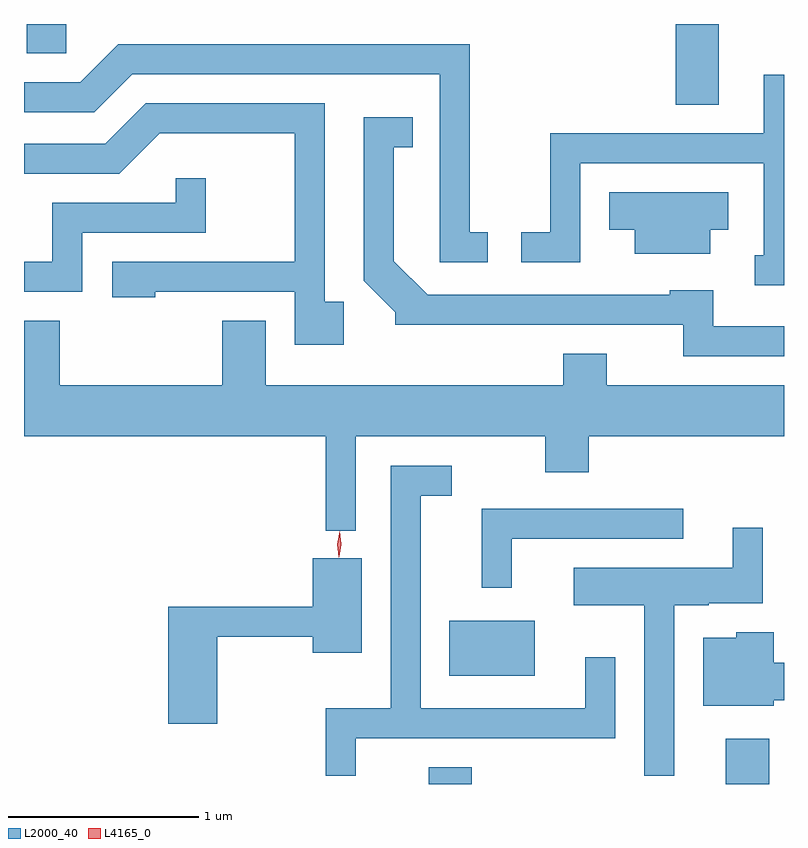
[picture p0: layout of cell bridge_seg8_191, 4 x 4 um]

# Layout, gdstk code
import gdstk
lib = gdstk.Library(unit=1e-6, precision=1e-09)
def R(c, l, rs):  # rectangles x0, y0, x1, y1
    for r in rs: c.add(gdstk.rectangle(r[:2], r[2:], *l))
def P(c, l, *ps):  # polygons
    for p in ps: c.add(gdstk.Polygon(p, *l))
L2000_40 = (2000, 40)
L4165_0 = (4165, 0)

bridge_seg8_191 = lib.new_cell('bridge_seg8_191')
R(bridge_seg8_191, L2000_40, [(1067.636,1912.285,1067.864,1912.374), (1069.201,1912.285,1069.429,1912.524), (1067.746,1912.856,1068.194,1913.144), (1068.936,1915.861,1069.164,1916.285), (1065.521,1916.131,1065.729,1916.285)])
P(bridge_seg8_191, L2000_40, [(1067.948,1915.189),(1067.854,1915.189),(1067.854,1916.179),(1066.004,1916.179),(1065.804,1915.979),(1065.507,1915.979),(1065.507,1915.821),(1065.877,1915.821),(1066.077,1916.021),(1067.696,1916.021),(1067.696,1915.031),(1067.948,1915.031)],
  [(1069.507,1916.019),(1069.401,1916.019),(1069.401,1915.709),(1068.276,1915.709),(1068.276,1915.189),(1068.123,1915.189),(1068.123,1915.031),(1068.434,1915.031),(1068.434,1915.551),(1069.401,1915.551),(1069.401,1915.069),(1069.353,1915.069),(1069.353,1914.911),(1069.507,1914.911)],
  [(1067.189,1914.824),(1067.089,1914.824),(1067.089,1915.869),(1066.149,1915.869),(1065.934,1915.654),(1065.507,1915.654),(1065.507,1915.496),(1066.007,1915.496),(1066.222,1915.711),(1066.931,1915.711),(1066.931,1915.034),(1065.971,1915.034),(1065.971,1914.846),(1066.199,1914.846),(1066.199,1914.876),(1066.931,1914.876),(1066.931,1914.596),(1067.189,1914.596)],
  [(1069.507,1914.694),(1069.134,1914.694),(1069.134,1914.884),(1068.906,1914.884),(1068.906,1914.859),(1067.632,1914.859),(1067.454,1915.037),(1067.454,1915.636),(1067.553,1915.636),(1067.553,1915.794),(1067.296,1915.794),(1067.296,1914.934),(1067.461,1914.769),(1067.461,1914.701),(1068.976,1914.701),(1068.976,1914.536),(1069.507,1914.536)],
  [(1065.814,1915.186),(1066.464,1915.186),(1066.464,1915.473),(1066.306,1915.473),(1066.306,1915.344),(1065.656,1915.344),(1065.656,1915.034),(1065.507,1915.034),(1065.507,1914.876),(1065.814,1914.876)],
  [(1069.119,1915.201),(1069.214,1915.201),(1069.214,1915.399),(1068.586,1915.399),(1068.586,1915.201),(1068.721,1915.201),(1068.721,1915.076),(1069.119,1915.076)],
  [(1067.254,1914.116),(1068.251,1914.116),(1068.251,1913.926),(1068.479,1913.926),(1068.479,1914.116),(1069.507,1914.116),(1069.507,1914.384),(1068.574,1914.384),(1068.574,1914.549),(1068.346,1914.549),(1068.346,1914.384),(1066.779,1914.384),(1066.779,1914.724),(1066.551,1914.724),(1066.551,1914.384),(1065.694,1914.384),(1065.694,1914.724),(1065.507,1914.724),(1065.507,1914.116),(1067.096,1914.116),(1067.096,1913.618),(1067.254,1913.618)],
  [(1067.254,1912.526),(1068.619,1912.526),(1068.619,1912.953),(1068.461,1912.953),(1068.461,1912.684),(1067.594,1912.684),(1067.594,1913.801),(1067.758,1913.801),(1067.758,1913.959),(1067.436,1913.959),(1067.436,1912.684),(1067.096,1912.684),(1067.096,1912.328),(1067.254,1912.328)],
  [(1068.074,1913.576),(1068.978,1913.576),(1068.978,1913.734),(1067.916,1913.734),(1067.916,1913.318),(1068.074,1913.318)],
  [(1068.929,1913.226),(1069.11,1913.226),(1069.11,1913.236),(1069.394,1913.236),(1069.394,1913.633),(1069.236,1913.633),(1069.236,1913.424),(1068.401,1913.424),(1068.401,1913.226),(1068.771,1913.226),(1068.771,1912.328),(1068.929,1912.328)],
  [(1066.524,1913.061),(1067.026,1913.061),(1067.026,1912.976),(1067.284,1912.976),(1067.284,1913.474),(1067.026,1913.474),(1067.026,1913.219),(1066.266,1913.219),(1066.266,1912.601),(1066.524,1912.601)],
  [(1069.454,1912.726),(1069.507,1912.726),(1069.507,1912.924),(1069.454,1912.924),(1069.454,1913.084),(1069.256,1913.084),(1069.256,1913.054),(1069.081,1913.054),(1069.081,1912.696),(1069.454,1912.696)])
P(bridge_seg8_191, L4165_0, [(1067.166,1913.48),(1067.166,1913.481),(1067.158,1913.546),(1067.168,1913.611),(1067.169,1913.612),(1067.169,1913.611),(1067.178,1913.546),(1067.167,1913.481)],
  [(1067.164,1913.478),(1067.164,1913.478),(1067.156,1913.547),(1067.168,1913.615),(1067.169,1913.615),(1067.169,1913.615),(1067.176,1913.546),(1067.164,1913.478)])

lib.write_gds('bridge_seg8_191.gds')
